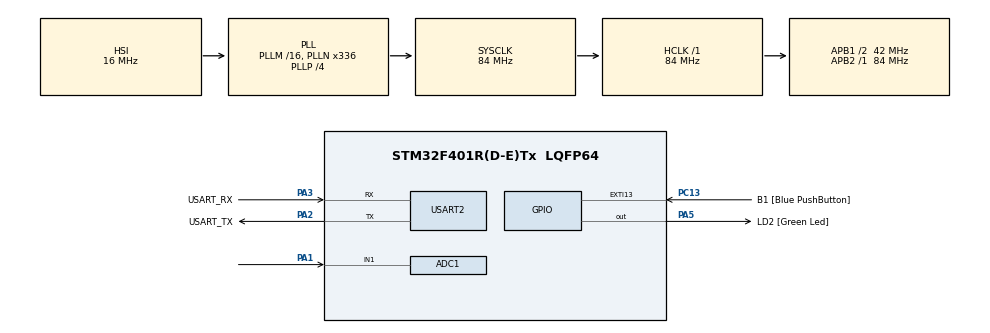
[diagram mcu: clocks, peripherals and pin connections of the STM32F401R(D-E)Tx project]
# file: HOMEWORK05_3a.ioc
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ADC1.Channel-0\#ChannelRegularConversion=ADC_CHANNEL_1
ADC1.Channel-1\#ChannelRegularConversion=ADC_CHANNEL_TEMPSENSOR
ADC1.Channel-2\#ChannelRegularConversion=ADC_CHANNEL_VREFINT
ADC1.ContinuousConvMode=DISABLE
ADC1.DMAContinuousRequests=ENABLE
ADC1.DataAlign=ADC_DATAALIGN_RIGHT
ADC1.EOCSelection=ADC_EOC_SINGLE_CONV
ADC1.NbrOfConversion=3
ADC1.NbrOfConversionFlag=1
ADC1.Rank-0\#ChannelRegularConversion=1
ADC1.Rank-1\#ChannelRegularConversion=2
ADC1.Rank-2\#ChannelRegularConversion=3
ADC1.SamplingTime-0\#ChannelRegularConversion=ADC_SAMPLETIME_480CYCLES
ADC1.SamplingTime-1\#ChannelRegularConversion=ADC_SAMPLETIME_144CYCLES
ADC1.SamplingTime-2\#ChannelRegularConversion=ADC_SAMPLETIME_480CYCLES
ADC1.ScanConvMode=ENABLE
ADC1.master=1
Dma.ADC1.0.Direction=DMA_PERIPH_TO_MEMORY
Dma.ADC1.0.FIFOMode=DMA_FIFOMODE_DISABLE
Dma.ADC1.0.Instance=DMA2_Stream0
Dma.ADC1.0.MemDataAlignment=DMA_MDATAALIGN_HALFWORD
Dma.ADC1.0.MemInc=DMA_MINC_ENABLE
Dma.ADC1.0.Mode=DMA_CIRCULAR
Dma.ADC1.0.PeriphDataAlignment=DMA_PDATAALIGN_HALFWORD
Dma.ADC1.0.PeriphInc=DMA_PINC_DISABLE
Dma.ADC1.0.Priority=DMA_PRIORITY_HIGH
Dma.Request0=ADC1
Mcu.Family=STM32F4
Mcu.Name=STM32F401R(D-E)Tx
Mcu.Package=LQFP64
NVIC.ADC_IRQn=true\:1\:0\:true\:false\:true\:true\:true\:true
NVIC.DMA2_Stream0_IRQn=true\:0\:0\:false\:false\:true\:false\:true\:true
NVIC.PriorityGroup=NVIC_PRIORITYGROUP_1
PA1.Signal=ADCx_IN1
PA13.GPIO_Label=TMS
PA13.Mode=Serial_Wire
PA13.Signal=SYS_JTMS-SWDIO
PA14.GPIO_Label=TCK
PA14.Mode=Serial_Wire
PA14.Signal=SYS_JTCK-SWCLK
PA2.GPIO_Label=USART_TX
PA2.GPIO_Mode=GPIO_MODE_AF_PP
PA2.GPIO_PuPd=GPIO_NOPULL
PA2.GPIO_Speed=GPIO_SPEED_FREQ_LOW
PA2.Mode=Asynchronous
PA2.Signal=USART2_TX
PA3.GPIO_Label=USART_RX
PA3.GPIO_Mode=GPIO_MODE_AF_PP
PA3.GPIO_PuPd=GPIO_NOPULL
PA3.GPIO_Speed=GPIO_SPEED_FREQ_LOW
PA3.Mode=Asynchronous
PA3.Signal=USART2_RX
PA5.GPIO_Label=LD2 [Green Led]
PA5.GPIO_Mode=GPIO_MODE_OUTPUT_PP
PA5.GPIO_PuPd=GPIO_NOPULL
PA5.GPIO_Speed=GPIO_SPEED_FREQ_LOW
PA5.Signal=GPIO_Output
PB3.GPIO_Label=SWO
PB3.Signal=SYS_JTDO-SWO
PC13-ANTI_TAMP.GPIO_Label=B1 [Blue PushButton]
PC13-ANTI_TAMP.GPIO_ModeDefaultEXTI=GPIO_MODE_IT_FALLING
PC13-ANTI_TAMP.GPIO_PuPd=GPIO_NOPULL
PC13-ANTI_TAMP.Signal=GPXTI13
PC14-OSC32_IN.Mode=LSE-External-Oscillator
PC14-OSC32_IN.Signal=RCC_OSC32_IN
PC15-OSC32_OUT.Mode=LSE-External-Oscillator
PC15-OSC32_OUT.Signal=RCC_OSC32_OUT
PH0\ -\ OSC_IN.Mode=HSE-External-Clock-Source
PH0\ -\ OSC_IN.Signal=RCC_OSC_IN
PH1\ -\ OSC_OUT.Mode=HSE-External-Clock-Source
PH1\ -\ OSC_OUT.Signal=RCC_OSC_OUT
ProjectManager.HeapSize=0x200
ProjectManager.StackSize=0x400
ProjectManager.TargetToolchain=STM32CubeIDE
RCC.48MHZClocksFreq_Value=48000000
RCC.AHBFreq_Value=84000000
RCC.APB1CLKDivider=RCC_HCLK_DIV2
RCC.APB1Freq_Value=42000000
RCC.APB1TimFreq_Value=84000000
RCC.APB2Freq_Value=84000000
RCC.APB2TimFreq_Value=84000000
RCC.CortexFreq_Value=84000000
RCC.HCLKFreq_Value=84000000
RCC.HSE_VALUE=8000000
RCC.HSI_VALUE=16000000
RCC.PLLN=336
RCC.PLLP=RCC_PLLP_DIV4
RCC.PLLQ=7
RCC.SYSCLKFreq_VALUE=84000000
RCC.SYSCLKSource=RCC_SYSCLKSOURCE_PLLCLK
RCC.VCOOutputFreq_Value=336000000
SH.ADCx_IN1.0=ADC1_IN1,IN1
USART2.VirtualMode=VM_ASYNC
VP_ADC1_TempSens_Input.Mode=IN-TempSens
VP_ADC1_Vref_Input.Mode=IN-Vrefint
board=NUCLEO-F401RE

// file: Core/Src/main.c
/* USER CODE BEGIN Header */
/**
  ******************************************************************************
  * @file           : main.c
  * @brief          : Main program body
  ******************************************************************************
  * @attention
  *
  * Copyright (c) 2023 STMicroelectronics.
  * All rights reserved.
  *
  * This software is licensed under terms that can be found in the LICENSE file
  * in the root directory of this software component.
  * If no LICENSE file comes with this software, it is provided AS-IS.
  *
  ******************************************************************************
  */
/* USER CODE END Header */
#include "main.h"

/* USER CODE BEGIN Includes */
#include "string.h"
#include "stdio.h"
/* USER CODE END Includes */

/* USER CODE BEGIN PD */
#define BUFFERLEN 3

/* USER CODE END PD */

ADC_HandleTypeDef hadc1;
DMA_HandleTypeDef hdma_adc1;

UART_HandleTypeDef huart2;

/* USER CODE BEGIN PV */

uint16_t databuffer[3];
//uint8_t currentchannel=0; // contatore per sapere che channel stiamo usando
float potvoltage,temperature,vref;
char string[128];
int finishconv=0;
float v_25=0.76;
float Avg_Slope=2.5;

/* USER CODE END PV */

void SystemClock_Config(void);
static void MX_GPIO_Init(void);
static void MX_DMA_Init(void);
static void MX_USART2_UART_Init(void);
static void MX_ADC1_Init(void);

int main(void)
{

  /* MCU Configuration--------------------------------------------------------*/

  /* Reset of all peripherals, Initializes the Flash interface and the Systick. */
  HAL_Init();

  /* Configure the system clock */
  SystemClock_Config();

  /* Initialize all configured peripherals */
  MX_GPIO_Init();
  MX_DMA_Init();
  MX_USART2_UART_Init();
  MX_ADC1_Init();
  /* USER CODE BEGIN 2 */
  HAL_ADC_Start_DMA(&hadc1, &databuffer[0] , BUFFERLEN);
  /* USER CODE END 2 */

  /* Infinite loop */
  /* USER CODE BEGIN WHILE */
  while (1)
  {

	  if(finishconv==1){
		  int length=snprintf(string, sizeof(string), "Vpot: %.3f V \t Temperature: %.3f °C\t Reference voltage: %.3f V\r\n",potvoltage,temperature,vref);
		  HAL_UART_Transmit(&huart2, string, length, 100);
		  finishconv=0;
		  HAL_ADC_Start_DMA(&hadc1, &databuffer[0] , BUFFERLEN);
		  HAL_Delay(1000);
		  //currentchannel=0;
	  }

    /* USER CODE END WHILE */

  }
}

void SystemClock_Config(void)
{
  RCC_OscInitTypeDef RCC_OscInitStruct = {0};
  RCC_ClkInitTypeDef RCC_ClkInitStruct = {0};

  /** Configure the main internal regulator output voltage
  */
  __HAL_RCC_PWR_CLK_ENABLE();
  __HAL_PWR_VOLTAGESCALING_CONFIG(PWR_REGULATOR_VOLTAGE_SCALE2);

  /** Initializes the RCC Oscillators according to the specified parameters
  * in the RCC_OscInitTypeDef structure.
  */
  RCC_OscInitStruct.OscillatorType = RCC_OSCILLATORTYPE_HSI;
  RCC_OscInitStruct.HSIState = RCC_HSI_ON;
  RCC_OscInitStruct.HSICalibrationValue = RCC_HSICALIBRATION_DEFAULT;
  RCC_OscInitStruct.PLL.PLLState = RCC_PLL_ON;
  RCC_OscInitStruct.PLL.PLLSource = RCC_PLLSOURCE_HSI;
  RCC_OscInitStruct.PLL.PLLM = 16;
  RCC_OscInitStruct.PLL.PLLN = 336;
  RCC_OscInitStruct.PLL.PLLP = RCC_PLLP_DIV4;
  RCC_OscInitStruct.PLL.PLLQ = 7;
  if (HAL_RCC_OscConfig(&RCC_OscInitStruct) != HAL_OK)
  {
    Error_Handler();
  }

  /** Initializes the CPU, AHB and APB buses clocks
  */
  RCC_ClkInitStruct.ClockType = RCC_CLOCKTYPE_HCLK|RCC_CLOCKTYPE_SYSCLK
                              |RCC_CLOCKTYPE_PCLK1|RCC_CLOCKTYPE_PCLK2;
  RCC_ClkInitStruct.SYSCLKSource = RCC_SYSCLKSOURCE_PLLCLK;
  RCC_ClkInitStruct.AHBCLKDivider = RCC_SYSCLK_DIV1;
  RCC_ClkInitStruct.APB1CLKDivider = RCC_HCLK_DIV2;
  RCC_ClkInitStruct.APB2CLKDivider = RCC_HCLK_DIV1;

  if (HAL_RCC_ClockConfig(&RCC_ClkInitStruct, FLASH_LATENCY_2) != HAL_OK)
  {
    Error_Handler();
  }
}

static void MX_ADC1_Init(void)
{

  ADC_ChannelConfTypeDef sConfig = {0};

  /** Configure the global features of the ADC (Clock, Resolution, Data Alignment and number of conversion)
  */
  hadc1.Instance = ADC1;
  hadc1.Init.ClockPrescaler = ADC_CLOCK_SYNC_PCLK_DIV4;
  hadc1.Init.Resolution = ADC_RESOLUTION_12B;
  hadc1.Init.ScanConvMode = ENABLE;
  hadc1.Init.ContinuousConvMode = DISABLE;
  hadc1.Init.DiscontinuousConvMode = DISABLE;
  hadc1.Init.ExternalTrigConvEdge = ADC_EXTERNALTRIGCONVEDGE_NONE;
  hadc1.Init.ExternalTrigConv = ADC_SOFTWARE_START;
  hadc1.Init.DataAlign = ADC_DATAALIGN_RIGHT;
  hadc1.Init.NbrOfConversion = 3;
  hadc1.Init.DMAContinuousRequests = ENABLE;
  hadc1.Init.EOCSelection = ADC_EOC_SINGLE_CONV;
  if (HAL_ADC_Init(&hadc1) != HAL_OK)
  {
    Error_Handler();
  }

  /** Configure for the selected ADC regular channel its corresponding rank in the sequencer and its sample time.
  */
  sConfig.Channel = ADC_CHANNEL_1;
  sConfig.Rank = 1;
  sConfig.SamplingTime = ADC_SAMPLETIME_480CYCLES;
  if (HAL_ADC_ConfigChannel(&hadc1, &sConfig) != HAL_OK)
  {
    Error_Handler();
  }

  /** Configure for the selected ADC regular channel its corresponding rank in the sequencer and its sample time.
  */
  sConfig.Channel = ADC_CHANNEL_TEMPSENSOR;
  sConfig.Rank = 2;
  sConfig.SamplingTime = ADC_SAMPLETIME_144CYCLES;
  if (HAL_ADC_ConfigChannel(&hadc1, &sConfig) != HAL_OK)
  {
    Error_Handler();
  }

  /** Configure for the selected ADC regular channel its corresponding rank in the sequencer and its sample time.
  */
  sConfig.Channel = ADC_CHANNEL_VREFINT;
  sConfig.Rank = 3;
  sConfig.SamplingTime = ADC_SAMPLETIME_480CYCLES;
  if (HAL_ADC_ConfigChannel(&hadc1, &sConfig) != HAL_OK)
  {
    Error_Handler();
  }

}

static void MX_USART2_UART_Init(void)
{

  huart2.Instance = USART2;
  huart2.Init.BaudRate = 115200;
  huart2.Init.WordLength = UART_WORDLENGTH_8B;
  huart2.Init.StopBits = UART_STOPBITS_1;
  huart2.Init.Parity = UART_PARITY_NONE;
  huart2.Init.Mode = UART_MODE_TX_RX;
  huart2.Init.HwFlowCtl = UART_HWCONTROL_NONE;
  huart2.Init.OverSampling = UART_OVERSAMPLING_16;
  if (HAL_UART_Init(&huart2) != HAL_OK)
  {
    Error_Handler();
  }

}

static void MX_DMA_Init(void)
{

  /* DMA controller clock enable */
  __HAL_RCC_DMA2_CLK_ENABLE();

  /* DMA interrupt init */
  /* DMA2_Stream0_IRQn interrupt configuration */
  HAL_NVIC_SetPriority(DMA2_Stream0_IRQn, 0, 0);
  HAL_NVIC_EnableIRQ(DMA2_Stream0_IRQn);

}

static void MX_GPIO_Init(void)
{
  GPIO_InitTypeDef GPIO_InitStruct = {0};

  /* GPIO Ports Clock Enable */
  __HAL_RCC_GPIOC_CLK_ENABLE();
  __HAL_RCC_GPIOH_CLK_ENABLE();
  __HAL_RCC_GPIOA_CLK_ENABLE();
  __HAL_RCC_GPIOB_CLK_ENABLE();

  /*Configure GPIO pin Output Level */
  HAL_GPIO_WritePin(LD2_GPIO_Port, LD2_Pin, GPIO_PIN_RESET);

  /*Configure GPIO pin : B1_Pin */
  GPIO_InitStruct.Pin = B1_Pin;
  GPIO_InitStruct.Mode = GPIO_MODE_IT_FALLING;
  GPIO_InitStruct.Pull = GPIO_NOPULL;
  HAL_GPIO_Init(B1_GPIO_Port, &GPIO_InitStruct);

  /*Configure GPIO pin : LD2_Pin */
  GPIO_InitStruct.Pin = LD2_Pin;
  GPIO_InitStruct.Mode = GPIO_MODE_OUTPUT_PP;
  GPIO_InitStruct.Pull = GPIO_NOPULL;
  GPIO_InitStruct.Speed = GPIO_SPEED_FREQ_LOW;
  HAL_GPIO_Init(LD2_GPIO_Port, &GPIO_InitStruct);

}

/* USER CODE BEGIN 4 */
void HAL_ADC_ConvCpltCallback(ADC_HandleTypeDef* hadc){

	//switch (currentchannel){
	//case 0:
	//databuffer[0]=HAL_ADC_GetValue(&hadc1);
	potvoltage=databuffer[0]*3.3/4095.0;
	//break;

	//case 1:
	//databuffer=HAL_ADC_GetValue(&hadc1);

	temperature=((((databuffer[1])*1.9/4095.0 +1.7)- v_25)/Avg_Slope) +25;
	//break;

	//case 2:
	//databuffer=HAL_ADC_GetValue(&hadc1);
	vref=databuffer[2]*0.06/4095.0 +1.18;
	finishconv=1;
	//break;

	//default:
	//break;
}
	//currentchannel++;

/* USER CODE END 4 */

void Error_Handler(void)
{
  __disable_irq();
  while (1)
  {
  }
}
